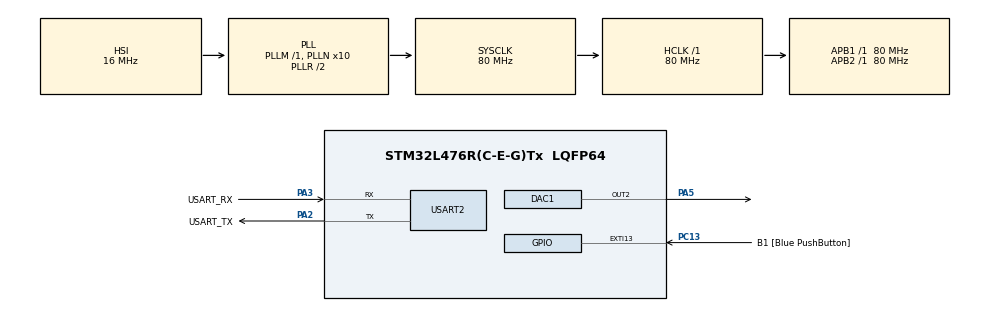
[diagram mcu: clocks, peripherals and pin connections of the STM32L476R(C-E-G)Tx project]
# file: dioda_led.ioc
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DAC1.DAC_Channel-DAC_OUT2=DAC_CHANNEL_2
Mcu.Family=STM32L4
Mcu.Name=STM32L476R(C-E-G)Tx
Mcu.Package=LQFP64
NVIC.PriorityGroup=NVIC_PRIORITYGROUP_4
PA13\ (JTMS-SWDIO).GPIO_Label=TMS
PA13\ (JTMS-SWDIO).Mode=Serial_Wire
PA13\ (JTMS-SWDIO).Signal=SYS_JTMS-SWDIO
PA14\ (JTCK-SWCLK).GPIO_Label=TCK
PA14\ (JTCK-SWCLK).Mode=Serial_Wire
PA14\ (JTCK-SWCLK).Signal=SYS_JTCK-SWCLK
PA2.GPIO_Label=USART_TX
PA2.GPIO_Mode=GPIO_MODE_AF_PP
PA2.GPIO_PuPd=GPIO_NOPULL
PA2.GPIO_Speed=GPIO_SPEED_FREQ_VERY_HIGH
PA2.Mode=Asynchronous
PA2.Signal=USART2_TX
PA3.GPIO_Label=USART_RX
PA3.GPIO_Mode=GPIO_MODE_AF_PP
PA3.GPIO_PuPd=GPIO_NOPULL
PA3.GPIO_Speed=GPIO_SPEED_FREQ_VERY_HIGH
PA3.Mode=Asynchronous
PA3.Signal=USART2_RX
PA5.Signal=COMP_DAC12_group
PB3\ (JTDO-TRACESWO).GPIO_Label=SWO
PB3\ (JTDO-TRACESWO).Signal=SYS_JTDO-SWO
PC13.GPIO_Label=B1 [Blue PushButton]
PC13.GPIO_ModeDefaultEXTI=GPIO_MODE_IT_FALLING
PC13.GPIO_PuPd=GPIO_NOPULL
PC13.Signal=GPXTI13
PC14-OSC32_IN\ (PC14).Mode=LSE-External-Oscillator
PC14-OSC32_IN\ (PC14).Signal=RCC_OSC32_IN
PC15-OSC32_OUT\ (PC15).Mode=LSE-External-Oscillator
PC15-OSC32_OUT\ (PC15).Signal=RCC_OSC32_OUT
PH0-OSC_IN\ (PH0).Signal=RCC_OSC_IN
PH1-OSC_OUT\ (PH1).Signal=RCC_OSC_OUT
ProjectManager.HeapSize=0x200
ProjectManager.StackSize=0x400
ProjectManager.TargetToolchain=STM32CubeIDE
RCC.ADCFreq_Value=64000000
RCC.AHBFreq_Value=80000000
RCC.APB1Freq_Value=80000000
RCC.APB1TimFreq_Value=80000000
RCC.APB2Freq_Value=80000000
RCC.APB2TimFreq_Value=80000000
RCC.CortexFreq_Value=80000000
RCC.HCLKFreq_Value=80000000
RCC.HSE_VALUE=8000000
RCC.HSI_VALUE=16000000
RCC.MSI_VALUE=4000000
RCC.PLLN=10
RCC.PLLSourceVirtual=RCC_PLLSOURCE_HSI
RCC.PREFETCH_ENABLE=1
RCC.SYSCLKFreq_VALUE=80000000
RCC.SYSCLKSource=RCC_SYSCLKSOURCE_PLLCLK
RCC.USBFreq_Value=64000000
RCC.VCOOutputFreq_Value=160000000
SH.COMP_DAC12_group.0=DAC1_OUT2,DAC_OUT2
USART2.VirtualMode-Asynchronous=VM_ASYNC
board=NUCLEO-L476RG

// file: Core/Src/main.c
/* USER CODE BEGIN Header */
/**
  ******************************************************************************
  * @file           : main.c
  * @brief          : Main program body
  ******************************************************************************
  * @attention
  *
  * <h2><center>&copy; Copyright (c) 2022 STMicroelectronics.
  * All rights reserved.</center></h2>
  *
  * This software component is licensed by ST under BSD 3-Clause license,
  * the "License"; You may not use this file except in compliance with the
  * License. You may obtain a copy of the License at:
  *                        opensource.org/licenses/BSD-3-Clause
  *
  ******************************************************************************
  */
/* USER CODE END Header */
#include "main.h"
#include "dac.h"
#include "usart.h"
#include "gpio.h"

/* USER CODE BEGIN Includes */
#include "stdio.h"
/* USER CODE END Includes */

void SystemClock_Config(void);
/* USER CODE BEGIN PFP */
int _write(int file, char *ptr, int len);
/* USER CODE END PFP */

int main(void)
{
  /* USER CODE BEGIN 1 */
	uint16_t dac_value;
	uint8_t i = 0;

	// 3.3V -> 255
	// 0.5V -> 39
	// 0.0, 	0.5,	1.0,	1.5, 	2.0, 	2.5, 	3.0, 	3.3
	// 0, 	39, 	78, 	117, 	156, 	195, 	234, 	255
	uint16_t tab[] = {0,39,77,116,155,193,232,255};

  /* USER CODE END 1 */

  /* MCU Configuration--------------------------------------------------------*/

  /* Reset of all peripherals, Initializes the Flash interface and the Systick. */
  HAL_Init();

  /* Configure the system clock */
  SystemClock_Config();

  /* Initialize all configured peripherals */
  MX_GPIO_Init();
  MX_USART2_UART_Init();
  MX_DAC1_Init();
  /* USER CODE BEGIN 2 */
  HAL_DAC_Start(&hdac1, DAC_CHANNEL_2);
  /* USER CODE END 2 */

  /* Infinite loop */
  /* USER CODE BEGIN WHILE */
  while (1)
  {
	  dac_value = tab[i];
	  HAL_DAC_SetValue(&hdac1, DAC_CHANNEL_2, DAC_ALIGN_8B_R, dac_value);
	  printf("DAC_val %3d -> %3d mV\r\n", dac_value, ((dac_value)*3300)/255);

	  HAL_Delay(2000);
	  i++;
	  if(i >= 8){
		  i = 0;
	  }

    /* USER CODE END WHILE */

  }
}

void SystemClock_Config(void)
{
  RCC_OscInitTypeDef RCC_OscInitStruct = {0};
  RCC_ClkInitTypeDef RCC_ClkInitStruct = {0};
  RCC_PeriphCLKInitTypeDef PeriphClkInit = {0};

  /** Initializes the RCC Oscillators according to the specified parameters
  * in the RCC_OscInitTypeDef structure.
  */
  RCC_OscInitStruct.OscillatorType = RCC_OSCILLATORTYPE_HSI;
  RCC_OscInitStruct.HSIState = RCC_HSI_ON;
  RCC_OscInitStruct.HSICalibrationValue = RCC_HSICALIBRATION_DEFAULT;
  RCC_OscInitStruct.PLL.PLLState = RCC_PLL_ON;
  RCC_OscInitStruct.PLL.PLLSource = RCC_PLLSOURCE_HSI;
  RCC_OscInitStruct.PLL.PLLM = 1;
  RCC_OscInitStruct.PLL.PLLN = 10;
  RCC_OscInitStruct.PLL.PLLP = RCC_PLLP_DIV7;
  RCC_OscInitStruct.PLL.PLLQ = RCC_PLLQ_DIV2;
  RCC_OscInitStruct.PLL.PLLR = RCC_PLLR_DIV2;
  if (HAL_RCC_OscConfig(&RCC_OscInitStruct) != HAL_OK)
  {
    Error_Handler();
  }
  /** Initializes the CPU, AHB and APB buses clocks
  */
  RCC_ClkInitStruct.ClockType = RCC_CLOCKTYPE_HCLK|RCC_CLOCKTYPE_SYSCLK
                              |RCC_CLOCKTYPE_PCLK1|RCC_CLOCKTYPE_PCLK2;
  RCC_ClkInitStruct.SYSCLKSource = RCC_SYSCLKSOURCE_PLLCLK;
  RCC_ClkInitStruct.AHBCLKDivider = RCC_SYSCLK_DIV1;
  RCC_ClkInitStruct.APB1CLKDivider = RCC_HCLK_DIV1;
  RCC_ClkInitStruct.APB2CLKDivider = RCC_HCLK_DIV1;

  if (HAL_RCC_ClockConfig(&RCC_ClkInitStruct, FLASH_LATENCY_4) != HAL_OK)
  {
    Error_Handler();
  }
  PeriphClkInit.PeriphClockSelection = RCC_PERIPHCLK_USART2;
  PeriphClkInit.Usart2ClockSelection = RCC_USART2CLKSOURCE_PCLK1;
  if (HAL_RCCEx_PeriphCLKConfig(&PeriphClkInit) != HAL_OK)
  {
    Error_Handler();
  }
  /** Configure the main internal regulator output voltage
  */
  if (HAL_PWREx_ControlVoltageScaling(PWR_REGULATOR_VOLTAGE_SCALE1) != HAL_OK)
  {
    Error_Handler();
  }
}

/* USER CODE BEGIN 4 */
int _write(int file, char *ptr, int len) {
	HAL_UART_Transmit(&huart2, (uint8_t*)ptr, len, 50);
	return len;
}
/* USER CODE END 4 */

void Error_Handler(void)
{
}

/************************ (C) COPYRIGHT STMicroelectronics *****END OF FILE****/
